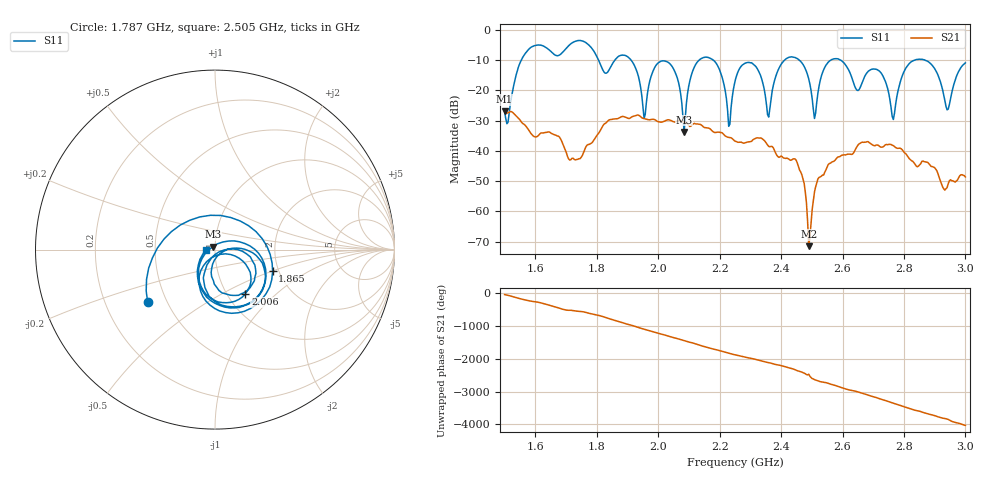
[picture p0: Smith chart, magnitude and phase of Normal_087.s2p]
# HZ S RI R 50
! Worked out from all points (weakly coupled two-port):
!   404 points, 1.5 GHz to 3 GHz, reference 50 ohm
!   highest |S21| = -26.94 dB at 1.5 GHz (marker M1); lowest = -71.5 dB at 2.49 GHz (marker M2)
!   lowest |S11| = -33.7 dB at 2.084 GHz (marker M3), VSWR 1.04, Z = 48.7 + j1.56 ohm
!   |S11| at or under -10 dB: 1.912 GHz to 2.133 GHz (221.2 MHz wide, 10.9 % of centre); 2.179 GHz to 2.411 GHz (231.9 MHz wide, 10.1 % of centre); 2.594 GHz to 2.835 GHz (240.6 MHz wide, 8.86 % of centre) (the widest 3 of 7)
!   S12 and S22 are empty: the file has one direction only
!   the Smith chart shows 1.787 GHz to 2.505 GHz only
!   S11 on the Smith chart (normalised r, x): 1.787 GHz: 0.39, -0.30; 1.865 GHz: 1.86, -0.51; 2.006 GHz: 1.21, -0.66; 2.505 GHz: 0.91, +0.00
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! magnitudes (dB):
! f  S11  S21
! 1.5 GHz  -27.2  -26.9
! 1.578 GHz  -6.4  -33.0
! 1.753 GHz  -3.7  -41.5
! 1.787 GHz  -6.4  -37.0
! 1.865 GHz  -9.3  -29.4
! 1.954 GHz  -29.2  -29.3
! 2.002 GHz  -10.7  -30.4
! 2.006 GHz  -10.5  -30.4
! 2.084 GHz  -33.7  -30.5
! 2.14 GHz  -9.5  -31.4
! 2.23 GHz  -31.8  -35.5
! 2.252 GHz  -16.3  -36.8
! 2.36 GHz  -28.8  -38.5
! 2.445 GHz  -9.1  -42.6
! 2.49 GHz  -16.2  -71.5
! 2.501 GHz  -22.7  -59.4
! 2.505 GHz  -26.2  -56.5
! 2.576 GHz  -9.5  -43.1
! 2.751 GHz  -21.0  -37.8
! 2.859 GHz  -9.7  -43.4
! 2.944 GHz  -26.2  -50.8
! 3 GHz  -10.9  -48.6
